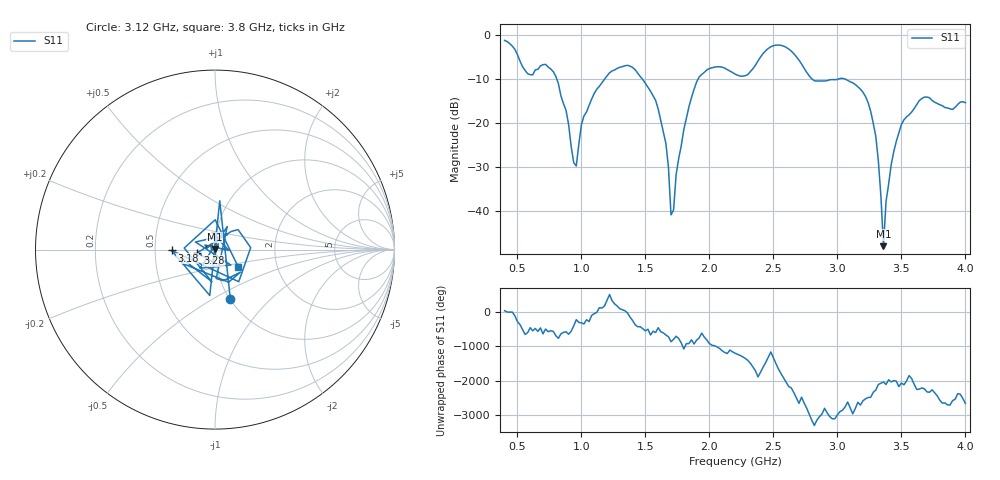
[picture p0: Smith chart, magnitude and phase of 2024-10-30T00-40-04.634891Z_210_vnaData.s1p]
!Created with skrf (http://scikit-rf.org).
# Hz S RI R 50.0
!freq ReS11 ImS11
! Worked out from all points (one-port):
!   181 points, 400 MHz to 4 GHz, reference 50 ohm
!   lowest |S11| = -48.1 dB at 3.36 GHz (marker M1), VSWR 1.01, Z = 49.7 + j0.296 ohm
!   |S11| at or under -10 dB: 807.3 MHz to 1.182 GHz (374.8 MHz wide, 37.7 % of centre); 1.475 GHz to 1.912 GHz (436.9 MHz wide, 25.8 % of centre); 3.059 GHz to end of sweep (the widest 3 of 4)
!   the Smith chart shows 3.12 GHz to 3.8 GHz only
!   S11 on the Smith chart (normalised r, x): 3.12 GHz: 1.01, -0.60; 3.18 GHz: 0.61, -0.01; 3.28 GHz: 0.82, -0.03; 3.8 GHz: 1.27, -0.25
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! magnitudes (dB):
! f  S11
! 400 MHz  -1.2
! 580 MHz  -8.8
! 780 MHz  -8.3
! 860 MHz  -15.6
! 960 MHz  -29.8
! 1.02 GHz  -18.4
! 1.3 GHz  -7.4
! 1.58 GHz  -14.9
! 1.66 GHz  -24.7
! 1.7 GHz  -40.9
! 1.72 GHz  -39.8
! 1.76 GHz  -28.1
! 1.92 GHz  -9.6
! 2.2 GHz  -8.9
! 2.5 GHz  -2.4
! 2.66 GHz  -4.3
! 2.82 GHz  -10.4
! 3.1 GHz  -10.6
! 3.12 GHz  -10.9
! 3.18 GHz  -12.3
! 3.28 GHz  -20.1
! 3.32 GHz  -28.6
! 3.36 GHz  -48.1
! 3.38 GHz  -37.9
! 3.42 GHz  -29.6
! 3.56 GHz  -18.2
! 3.8 GHz  -15.9
! 4 GHz  -15.4
